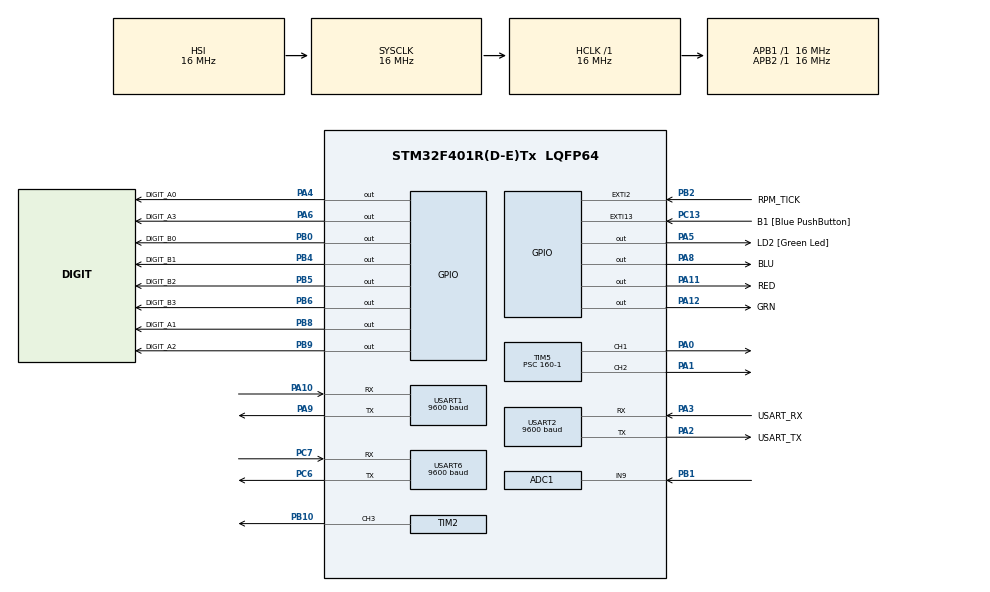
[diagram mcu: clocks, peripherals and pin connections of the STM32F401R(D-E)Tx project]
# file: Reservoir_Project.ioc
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ADC1.Channel-0\#ChannelRegularConversion=ADC_CHANNEL_9
ADC1.NbrOfConversionFlag=1
ADC1.Rank-0\#ChannelRegularConversion=1
ADC1.Resolution=ADC_RESOLUTION_8B
ADC1.SamplingTime-0\#ChannelRegularConversion=ADC_SAMPLETIME_15CYCLES
ADC1.ScanConvMode=ENABLE
ADC1.master=1
Mcu.Family=STM32F4
Mcu.Name=STM32F401R(D-E)Tx
Mcu.Package=LQFP64
NVIC.EXTI2_IRQn=true\:0\:0\:false\:false\:true\:true\:true\:true
NVIC.PriorityGroup=NVIC_PRIORITYGROUP_0
NVIC.USART1_IRQn=true\:0\:0\:false\:false\:true\:true\:true\:true
NVIC.USART2_IRQn=true\:0\:0\:false\:false\:true\:true\:true\:true
NVIC.USART6_IRQn=true\:0\:0\:false\:false\:true\:true\:true\:true
PA0-WKUP.Signal=S_TIM5_CH1
PA1.Signal=S_TIM5_CH2
PA10.Mode=Asynchronous
PA10.Signal=USART1_RX
PA11.GPIO_Label=RED
PA11.Signal=GPIO_Output
PA12.GPIO_Label=GRN
PA12.Signal=GPIO_Output
PA13.GPIO_Label=TMS
PA13.Mode=Serial_Wire
PA13.Signal=SYS_JTMS-SWDIO
PA14.GPIO_Label=TCK
PA14.Mode=Serial_Wire
PA14.Signal=SYS_JTCK-SWCLK
PA2.GPIO_Label=USART_TX
PA2.GPIO_Mode=GPIO_MODE_AF_PP
PA2.GPIO_PuPd=GPIO_NOPULL
PA2.GPIO_Speed=GPIO_SPEED_FREQ_LOW
PA2.Mode=Asynchronous
PA2.Signal=USART2_TX
PA3.GPIO_Label=USART_RX
PA3.GPIO_Mode=GPIO_MODE_AF_PP
PA3.GPIO_PuPd=GPIO_NOPULL
PA3.GPIO_Speed=GPIO_SPEED_FREQ_LOW
PA3.Mode=Asynchronous
PA3.Signal=USART2_RX
PA4.GPIO_Label=DIGIT_A0
PA4.Signal=GPIO_Output
PA5.GPIO_Label=LD2 [Green Led]
PA5.GPIO_Mode=GPIO_MODE_OUTPUT_PP
PA5.GPIO_PuPd=GPIO_NOPULL
PA5.GPIO_Speed=GPIO_SPEED_FREQ_LOW
PA5.Signal=GPIO_Output
PA6.GPIO_Label=DIGIT_A3
PA6.Signal=GPIO_Output
PA8.GPIO_Label=BLU
PA8.Signal=GPIO_Output
PA9.Mode=Asynchronous
PA9.Signal=USART1_TX
PB0.GPIO_Label=DIGIT_B0
PB0.Signal=GPIO_Output
PB1.Signal=ADCx_IN9
PB10.Signal=S_TIM2_CH3
PB2.GPIO_Label=RPM_TICK
PB2.Signal=GPXTI2
PB3.GPIO_Label=SWO
PB3.Signal=SYS_JTDO-SWO
PB4.GPIO_Label=DIGIT_B1
PB4.Signal=GPIO_Output
PB5.GPIO_Label=DIGIT_B2
PB5.Signal=GPIO_Output
PB6.GPIO_Label=DIGIT_B3
PB6.Signal=GPIO_Output
PB8.GPIO_Label=DIGIT_A1
PB8.Signal=GPIO_Output
PB9.GPIO_Label=DIGIT_A2
PB9.Signal=GPIO_Output
PC13-ANTI_TAMP.GPIO_Label=B1 [Blue PushButton]
PC13-ANTI_TAMP.GPIO_ModeDefaultEXTI=GPIO_MODE_IT_FALLING
PC13-ANTI_TAMP.GPIO_PuPd=GPIO_NOPULL
PC13-ANTI_TAMP.Signal=GPXTI13
PC14-OSC32_IN.Mode=LSE-External-Oscillator
PC14-OSC32_IN.Signal=RCC_OSC32_IN
PC15-OSC32_OUT.Mode=LSE-External-Oscillator
PC15-OSC32_OUT.Signal=RCC_OSC32_OUT
PC6.Mode=Asynchronous
PC6.Signal=USART6_TX
PC7.Mode=Asynchronous
PC7.Signal=USART6_RX
PH0\ -\ OSC_IN.Mode=HSE-External-Clock-Source
PH0\ -\ OSC_IN.Signal=RCC_OSC_IN
PH1\ -\ OSC_OUT.Mode=HSE-External-Clock-Source
PH1\ -\ OSC_OUT.Signal=RCC_OSC_OUT
ProjectManager.HeapSize=0x200
ProjectManager.StackSize=0x400
ProjectManager.TargetToolchain=STM32CubeIDE
RCC.48MHZClocksFreq_Value=48000000
RCC.AHBFreq_Value=16000000
RCC.APB1Freq_Value=16000000
RCC.APB1TimFreq_Value=16000000
RCC.APB2Freq_Value=16000000
RCC.APB2TimFreq_Value=16000000
RCC.CortexFreq_Value=16000000
RCC.HCLKFreq_Value=16000000
RCC.HSE_VALUE=8000000
RCC.HSI_VALUE=16000000
RCC.PLLN=336
RCC.PLLP=RCC_PLLP_DIV4
RCC.PLLQ=7
RCC.SYSCLKFreq_VALUE=16000000
RCC.VCOOutputFreq_Value=336000000
SH.ADCx_IN9.0=ADC1_IN9,IN9
SH.S_TIM2_CH3.0=TIM2_CH3,PWM Generation3 CH3
SH.S_TIM5_CH1.0=TIM5_CH1,PWM Generation1 CH1
SH.S_TIM5_CH2.0=TIM5_CH2,PWM Generation2 CH2
TIM2.AutoReloadPreload=TIM_AUTORELOAD_PRELOAD_ENABLE
TIM2.Channel-PWM\ Generation3\ CH3=TIM_CHANNEL_3
TIM2.Period=20000-1
TIM2.Prescaler=16-1
TIM4.AutoReloadPreload=TIM_AUTORELOAD_PRELOAD_ENABLE
TIM4.Period=1000-1
TIM4.Prescaler=16000-1
TIM5.AutoReloadPreload=TIM_AUTORELOAD_PRELOAD_ENABLE
TIM5.Channel-PWM\ Generation1\ CH1=TIM_CHANNEL_1
TIM5.Channel-PWM\ Generation2\ CH2=TIM_CHANNEL_2
TIM5.Period=100-1
TIM5.Prescaler=160-1
TIM5.Pulse-PWM\ Generation1\ CH1=80-1
TIM5.Pulse-PWM\ Generation2\ CH2=80-1
USART1.BaudRate=9600
USART1.VirtualMode=VM_ASYNC
USART2.BaudRate=9600
USART2.VirtualMode=VM_ASYNC
USART6.BaudRate=9600
USART6.Mode=MODE_TX_RX
USART6.VirtualMode=VM_ASYNC
VP_TIM2_VS_ClockSourceINT.Mode=Internal
VP_TIM4_VS_ClockSourceINT.Mode=Internal
VP_TIM5_VS_ClockSourceINT.Mode=Internal
board=NUCLEO-F401RE

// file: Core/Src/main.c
/* USER CODE BEGIN Header */
/**
  ******************************************************************************
  * @file           : main.c
  * @brief          : Main program body
  ******************************************************************************
  * @attention
  *
  * Copyright (c) 2023 STMicroelectronics.
  * All rights reserved.
  *
  * This software is licensed under terms that can be found in the LICENSE file
  * in the root directory of this software component.
  * If no LICENSE file comes with this software, it is provided AS-IS.
  *
  ******************************************************************************
  */
/* USER CODE END Header */
#include "main.h"

/* USER CODE BEGIN PD */
uint8_t byte;
/* USER CODE END PD */

ADC_HandleTypeDef hadc1;

TIM_HandleTypeDef htim2;
TIM_HandleTypeDef htim4;
TIM_HandleTypeDef htim5;

UART_HandleTypeDef huart1;
UART_HandleTypeDef huart2;
UART_HandleTypeDef huart6;

void SystemClock_Config(void);
static void MX_GPIO_Init(void);
static void MX_USART2_UART_Init(void);
static void MX_ADC1_Init(void);
static void MX_USART6_UART_Init(void);
static void MX_TIM5_Init(void);
static void MX_USART1_UART_Init(void);
static void MX_TIM2_Init(void);
static void MX_TIM4_Init(void);

/* USER CODE BEGIN 0 */
uint16_t txd_msg_buffer[128] = {0};
uint8_t us100_Rx_flag = 01;
uint8_t rcv_intpt_flag = 00;
uint8_t rpm_tick_count = 0;
uint8_t ADC_CH9 = 0;
uint32_t RPM =0;
uint32_t time = 0;
int distance;
uint16_t inletSpeed;
double inletTime;
uint16_t speed1;
double time1;
uint16_t speed2;
double time2;
uint16_t speed3;
double time3;
uint8_t us100_buffer[2];
uint8_t cmd_dist = 0x55;
double maxWaterLevel = 50; //distance from us-100
double minWaterLevel = 150;
double waterLevel = 0;

void ADC_Select_CH(int CH){
	ADC_ChannelConfTypeDef sConfig = {0};
	switch(CH){
	case 0:
	sConfig.Channel = ADC_CHANNEL_0;
	sConfig.Rank = 1;
	if (HAL_ADC_ConfigChannel(&hadc1, &sConfig) != HAL_OK){
		Error_Handler();
	}
	break;
	case 1:
	sConfig.Channel = ADC_CHANNEL_1;
	sConfig.Rank = 1;
	if (HAL_ADC_ConfigChannel(&hadc1, &sConfig) != HAL_OK){
		Error_Handler();
	}
	break;
	case 2:
	sConfig.Channel = ADC_CHANNEL_2;
	sConfig.Rank = 1;
	if (HAL_ADC_ConfigChannel(&hadc1, &sConfig) != HAL_OK){
		Error_Handler();
	}
	break;
	case 3:
	sConfig.Channel = ADC_CHANNEL_3;
	sConfig.Rank = 1;
	if (HAL_ADC_ConfigChannel(&hadc1, &sConfig) != HAL_OK){
		Error_Handler();
	}
	break;
	case 4:
	sConfig.Channel = ADC_CHANNEL_4;
	sConfig.Rank = 1;
	if (HAL_ADC_ConfigChannel(&hadc1, &sConfig) != HAL_OK){
		Error_Handler();
	}
	break;
	case 5:
	sConfig.Channel = ADC_CHANNEL_5;
	sConfig.Rank = 1;
	if (HAL_ADC_ConfigChannel(&hadc1, &sConfig) != HAL_OK){
		Error_Handler();
	}
	break;
	case 6:
	sConfig.Channel = ADC_CHANNEL_6;
	sConfig.Rank = 1;
	if (HAL_ADC_ConfigChannel(&hadc1, &sConfig) != HAL_OK){
		Error_Handler();
	}
	break;
	case 7:
	sConfig.Channel = ADC_CHANNEL_7;
	sConfig.Rank = 1;
	if (HAL_ADC_ConfigChannel(&hadc1, &sConfig) != HAL_OK){
		Error_Handler();
	}
	break;
	case 8:
	sConfig.Channel = ADC_CHANNEL_8;
	sConfig.Rank = 1;
	if (HAL_ADC_ConfigChannel(&hadc1, &sConfig) != HAL_OK){
		Error_Handler();
	}
	break;
	case 9:
	sConfig.Channel = ADC_CHANNEL_9;
	sConfig.Rank = 1;
	if (HAL_ADC_ConfigChannel(&hadc1, &sConfig) != HAL_OK){
		Error_Handler();
	}
	break;
	case 10:
	sConfig.Channel = ADC_CHANNEL_10;
	sConfig.Rank = 1;
	if (HAL_ADC_ConfigChannel(&hadc1, &sConfig) != HAL_OK){
		Error_Handler();
	}
	break;
	case 11:
	sConfig.Channel = ADC_CHANNEL_11;
	sConfig.Rank = 1;
	if (HAL_ADC_ConfigChannel(&hadc1, &sConfig) != HAL_OK){
		Error_Handler();
	}
	break;
	case 12:
	sConfig.Channel = ADC_CHANNEL_12;
	sConfig.Rank = 1;
	if (HAL_ADC_ConfigChannel(&hadc1, &sConfig) != HAL_OK){
		Error_Handler();
	}
	break;
	case 13:
	sConfig.Channel = ADC_CHANNEL_13;
	sConfig.Rank = 1;
	if (HAL_ADC_ConfigChannel(&hadc1, &sConfig) != HAL_OK){
		Error_Handler();
	}
	break;
	case 14:
	sConfig.Channel = ADC_CHANNEL_14;
	sConfig.Rank = 1;
	if (HAL_ADC_ConfigChannel(&hadc1, &sConfig) != HAL_OK){
		Error_Handler();
	}
	break;
	case 15:
	sConfig.Channel = ADC_CHANNEL_15;
	sConfig.Rank = 1;
	if (HAL_ADC_ConfigChannel(&hadc1, &sConfig) != HAL_OK){
		Error_Handler();
	}
	break;
	}
}

void DIGIT_A_Display(uint8_t DIGIT_A)
{
	 uint8_t DIGITA_VAL = 0x0F & DIGIT_A; //mask off higher4 buts

	 switch(DIGITA_VAL)
	 {
	 case 0:
		 HAL_GPIO_WritePin(GPIOA, DIGIT_A0_Pin, GPIO_PIN_RESET);
		 HAL_GPIO_WritePin(GPIOB, DIGIT_A1_Pin, GPIO_PIN_RESET);
		 HAL_GPIO_WritePin(GPIOB, DIGIT_A2_Pin, GPIO_PIN_RESET);
		 HAL_GPIO_WritePin(GPIOA, DIGIT_A3_Pin, GPIO_PIN_RESET);
	 break;
	 case 1:
		 HAL_GPIO_WritePin(GPIOA, DIGIT_A0_Pin, GPIO_PIN_SET);
		 HAL_GPIO_WritePin(GPIOB, DIGIT_A1_Pin, GPIO_PIN_RESET);
		 HAL_GPIO_WritePin(GPIOB, DIGIT_A2_Pin, GPIO_PIN_RESET);
		 HAL_GPIO_WritePin(GPIOA, DIGIT_A3_Pin, GPIO_PIN_RESET);
	 break;
	 case 2:
		 HAL_GPIO_WritePin(GPIOA, DIGIT_A0_Pin, GPIO_PIN_RESET);
		 HAL_GPIO_WritePin(GPIOB, DIGIT_A1_Pin, GPIO_PIN_SET);
		 HAL_GPIO_WritePin(GPIOB, DIGIT_A2_Pin, GPIO_PIN_RESET);
		 HAL_GPIO_WritePin(GPIOA, DIGIT_A3_Pin, GPIO_PIN_RESET);
	 break;
	 case 3:
		 HAL_GPIO_WritePin(GPIOA, DIGIT_A0_Pin, GPIO_PIN_SET);
		 HAL_GPIO_WritePin(GPIOB, DIGIT_A1_Pin, GPIO_PIN_SET);
		 HAL_GPIO_WritePin(GPIOB, DIGIT_A2_Pin, GPIO_PIN_RESET);
		 HAL_GPIO_WritePin(GPIOA, DIGIT_A3_Pin, GPIO_PIN_RESET);
	 break;
	 case 4:
		 HAL_GPIO_WritePin(GPIOA, DIGIT_A0_Pin, GPIO_PIN_RESET);
		 HAL_GPIO_WritePin(GPIOB, DIGIT_A1_Pin, GPIO_PIN_RESET);
		 HAL_GPIO_WritePin(GPIOB, DIGIT_A2_Pin, GPIO_PIN_SET);
		 HAL_GPIO_WritePin(GPIOA, DIGIT_A3_Pin, GPIO_PIN_RESET);
	 break;
	 case 5:
		 HAL_GPIO_WritePin(GPIOA, DIGIT_A0_Pin, GPIO_PIN_SET);
		 HAL_GPIO_WritePin(GPIOB, DIGIT_A1_Pin, GPIO_PIN_RESET);
		 HAL_GPIO_WritePin(GPIOB, DIGIT_A2_Pin, GPIO_PIN_SET);
		 HAL_GPIO_WritePin(GPIOA, DIGIT_A3_Pin, GPIO_PIN_RESET);
	 break;
	 case 6:
		 HAL_GPIO_WritePin(GPIOA, DIGIT_A0_Pin, GPIO_PIN_RESET);
		 HAL_GPIO_WritePin(GPIOB, DIGIT_A1_Pin, GPIO_PIN_SET);
		 HAL_GPIO_WritePin(GPIOB, DIGIT_A2_Pin, GPIO_PIN_SET);
		 HAL_GPIO_WritePin(GPIOA, DIGIT_A3_Pin, GPIO_PIN_RESET);
	 break;
	 case 7:
		 HAL_GPIO_WritePin(GPIOA, DIGIT_A0_Pin, GPIO_PIN_SET);
		 HAL_GPIO_WritePin(GPIOB, DIGIT_A1_Pin, GPIO_PIN_SET);
		 HAL_GPIO_WritePin(GPIOB, DIGIT_A2_Pin, GPIO_PIN_SET);
		 HAL_GPIO_WritePin(GPIOA, DIGIT_A3_Pin, GPIO_PIN_RESET);
	 break;
	 case 8:
		 HAL_GPIO_WritePin(GPIOA, DIGIT_A0_Pin, GPIO_PIN_RESET);
		 HAL_GPIO_WritePin(GPIOB, DIGIT_A1_Pin, GPIO_PIN_RESET);
		 HAL_GPIO_WritePin(GPIOB, DIGIT_A2_Pin, GPIO_PIN_RESET);
		 HAL_GPIO_WritePin(GPIOA, DIGIT_A3_Pin, GPIO_PIN_SET);
	 break;
	 case 9:
		 HAL_GPIO_WritePin(GPIOA, DIGIT_A0_Pin, GPIO_PIN_SET);
		 HAL_GPIO_WritePin(GPIOB, DIGIT_A1_Pin, GPIO_PIN_RESET);
		 HAL_GPIO_WritePin(GPIOB, DIGIT_A2_Pin, GPIO_PIN_RESET);
		 HAL_GPIO_WritePin(GPIOA, DIGIT_A3_Pin, GPIO_PIN_SET);
	 break;
	 }
}

void DIGIT_B_Display(uint8_t DIGIT_B)
{
	 uint8_t DIGITB_VAL = 0x0F & DIGIT_B; //mask off higher4 buts

	 switch(DIGITB_VAL)
	 {
	 case 0:
		 HAL_GPIO_WritePin(GPIOB, DIGIT_B0_Pin, GPIO_PIN_RESET);
		 HAL_GPIO_WritePin(GPIOB, DIGIT_B1_Pin, GPIO_PIN_RESET);
		 HAL_GPIO_WritePin(GPIOB, DIGIT_B2_Pin, GPIO_PIN_RESET);
		 HAL_GPIO_WritePin(GPIOB, DIGIT_B3_Pin, GPIO_PIN_RESET);
	 break;
	 case 1:
		 HAL_GPIO_WritePin(GPIOB, DIGIT_B0_Pin, GPIO_PIN_SET);
		 HAL_GPIO_WritePin(GPIOB, DIGIT_B1_Pin, GPIO_PIN_RESET);
		 HAL_GPIO_WritePin(GPIOB, DIGIT_B2_Pin, GPIO_PIN_RESET);
		 HAL_GPIO_WritePin(GPIOB, DIGIT_B3_Pin, GPIO_PIN_RESET);
	 break;
	 case 2:
		 HAL_GPIO_WritePin(GPIOB, DIGIT_B0_Pin, GPIO_PIN_RESET);
		 HAL_GPIO_WritePin(GPIOB, DIGIT_B1_Pin, GPIO_PIN_SET);
		 HAL_GPIO_WritePin(GPIOB, DIGIT_B2_Pin, GPIO_PIN_RESET);
		 HAL_GPIO_WritePin(GPIOB, DIGIT_B3_Pin, GPIO_PIN_RESET);
	 break;
	 case 3:
		 HAL_GPIO_WritePin(GPIOB, DIGIT_B0_Pin, GPIO_PIN_SET);
		 HAL_GPIO_WritePin(GPIOB, DIGIT_B1_Pin, GPIO_PIN_SET);
		 HAL_GPIO_WritePin(GPIOB, DIGIT_B2_Pin, GPIO_PIN_RESET);
		 HAL_GPIO_WritePin(GPIOB, DIGIT_B3_Pin, GPIO_PIN_RESET);
	 break;
	 case 4:
		 HAL_GPIO_WritePin(GPIOB, DIGIT_B0_Pin, GPIO_PIN_RESET);
		 HAL_GPIO_WritePin(GPIOB, DIGIT_B1_Pin, GPIO_PIN_RESET);
		 HAL_GPIO_WritePin(GPIOB, DIGIT_B2_Pin, GPIO_PIN_SET);
		 HAL_GPIO_WritePin(GPIOB, DIGIT_B3_Pin, GPIO_PIN_RESET);
	 break;
	 case 5:
		 HAL_GPIO_WritePin(GPIOB, DIGIT_B0_Pin, GPIO_PIN_SET);
		 HAL_GPIO_WritePin(GPIOB, DIGIT_B1_Pin, GPIO_PIN_RESET);
		 HAL_GPIO_WritePin(GPIOB, DIGIT_B2_Pin, GPIO_PIN_SET);
		 HAL_GPIO_WritePin(GPIOB, DIGIT_B3_Pin, GPIO_PIN_RESET);
	 break;
	 case 6:
		 HAL_GPIO_WritePin(GPIOB, DIGIT_B0_Pin, GPIO_PIN_RESET);
		 HAL_GPIO_WritePin(GPIOB, DIGIT_B1_Pin, GPIO_PIN_SET);
		 HAL_GPIO_WritePin(GPIOB, DIGIT_B2_Pin, GPIO_PIN_SET);
		 HAL_GPIO_WritePin(GPIOB, DIGIT_B3_Pin, GPIO_PIN_RESET);
	 break;
	 case 7:
		 HAL_GPIO_WritePin(GPIOB, DIGIT_B0_Pin, GPIO_PIN_SET);
		 HAL_GPIO_WritePin(GPIOB, DIGIT_B1_Pin, GPIO_PIN_SET);
		 HAL_GPIO_WritePin(GPIOB, DIGIT_B2_Pin, GPIO_PIN_SET);
		 HAL_GPIO_WritePin(GPIOB, DIGIT_B3_Pin, GPIO_PIN_RESET);
	 break;
	 case 8:
		 HAL_GPIO_WritePin(GPIOB, DIGIT_B0_Pin, GPIO_PIN_RESET);
		 HAL_GPIO_WritePin(GPIOB, DIGIT_B1_Pin, GPIO_PIN_RESET);
		 HAL_GPIO_WritePin(GPIOB, DIGIT_B2_Pin, GPIO_PIN_RESET);
		 HAL_GPIO_WritePin(GPIOB, DIGIT_B3_Pin, GPIO_PIN_SET);
	 break;
	 case 9:
		 HAL_GPIO_WritePin(GPIOB, DIGIT_B0_Pin, GPIO_PIN_SET);
		 HAL_GPIO_WritePin(GPIOB, DIGIT_B1_Pin, GPIO_PIN_RESET);
		 HAL_GPIO_WritePin(GPIOB, DIGIT_B2_Pin, GPIO_PIN_RESET);
		 HAL_GPIO_WritePin(GPIOB, DIGIT_B3_Pin, GPIO_PIN_SET);
	 break;
	 }
}

void changeMotorSpeed(int direction, uint8_t motorSpeed, uint8_t potentiometer){
	if(potentiometer == 1){
		if (direction == 0){
			TIM5->CCR2 = 0;
			//TIM5->CCR1 = 0 + ((99 - 0) / (255 - 0)) * (motorSpeed - 0);
			TIM5->CCR1 = ((double)motorSpeed/255) * 99;
			//output = output_start + ((output_end - output_start) / (input_end - input_start)) * (input - input_start)
		}
		else{
			TIM5->CCR1 = 0;
			//TIM5->CCR2 = 0 + ((99 - 50) / (255 - 0)) * (motorSpeed - 0);
			TIM5->CCR2 = ((double)motorSpeed/255) * 99;
		}
	}
	else{
		if (direction == 0){
			TIM5->CCR2 = 0;
			TIM5->CCR1 = motorSpeed;
			//output = output_start + ((output_end - output_start) / (input_end - input_start)) * (input - input_start)
		}
		else{
			TIM5->CCR1 = 0;
			TIM5->CCR2 = motorSpeed;
		}
	}
}

void updateADCValue(){
	ADC_Select_CH(9);
	HAL_ADC_Start(&hadc1);
	HAL_ADC_PollForConversion(&hadc1, 1000);
	ADC_CH9 = HAL_ADC_GetValue(&hadc1);
	HAL_ADC_Stop(&hadc1);

}

void updateWaterLevel(){
	//distance sensor
	us100_Rx_flag = 01;
	HAL_UART_Receive_IT(&huart1,us100_buffer,2);
	HAL_UART_Transmit(&huart1, &cmd_dist,1,500);
	while(us100_Rx_flag == (00)){};

	distance = (us100_buffer[0] << 8) + us100_buffer[1];

	//sprintf((char*)txd_msg_buffer, "\r\n Distance: %d", distance);
	//HAL_UART_Transmit(&huart6, txd_msg_buffer, strlen((char*)txd_msg_buffer), 1000);
}

void updateTimerDisplay(){
	DIGIT_A_Display((int)waterLevel/10);
	DIGIT_B_Display((int)waterLevel % 10);
}

void updateRPM(){
	if (HAL_GetTick() - time >= 1000) {
		RPM = ((float)rpm_tick_count/20.0)*60.0;
		rpm_tick_count = 0;
		//sprintf((char*)txd_msg_buffer, "\r\n RPM: %d",RPM);
		//HAL_UART_Transmit(&huart6,txd_msg_buffer, strlen((char*)txd_msg_buffer), 1000);
		time = HAL_GetTick();
	}
}

void moveServo(int CCRValue){
//	int TIM2_Ch1_DCVAL = 500;
//	int TIM2_Ch1_STEP = 50;
	TIM2->CCR3 = CCRValue;
	//while(TIM2_Ch1_DCVAL < 2500){
	//		  TIM2_Ch1_DCVAL += (TIM2_Ch1_STEP);
	//		  TIM2->CCR1 = TIM2_Ch1_DCVAL;
	//	  }
	//	  while(TIM2_Ch1_DCVAL > 500){
	//		  TIM2_Ch1_DCVAL -= (TIM2_Ch1_STEP);
	//		  TIM2->CCR1 = TIM2_Ch1_DCVAL;
	//	  }
}

void Inlet(){
	if(distance <= maxWaterLevel){
		distance = maxWaterLevel;
		return;
	}
	uint16_t speed;
	double zoneTimeInMS = (inletTime/10)*60*1000;
	double startTime = HAL_GetTick();
	double newTime = startTime + 1;
	HAL_GPIO_WritePin(GPIOA, RED_Pin, GPIO_PIN_SET);
	HAL_GPIO_WritePin(GPIOA, BLU_Pin, GPIO_PIN_SET);
	moveServo(500);

	updateWaterLevel();

	if(distance <= maxWaterLevel){
			distance = maxWaterLevel;
	}
	if(distance > minWaterLevel){
		distance = minWaterLevel;
	}
	waterLevel = ((minWaterLevel - distance)/100) * 99;
	if (inletSpeed == 0){
		updateADCValue();
		speed = ADC_CH9;
		changeMotorSpeed(0, speed, 1);
	}
	else{
		if(inletSpeed == 8){
			speed = 85;
		}
		else if(inletSpeed == 9){
			speed = 99;
		}
		else{
			speed = inletSpeed * 10;
		}
		changeMotorSpeed(0, speed, 0);
	}
	updateRPM();
	sprintf((char*)txd_msg_buffer, "\r\n Zone: Inlet, Motor Speed: %d, Pump RPM: %d, distance %d, Reservoir Water Level: %0.0lf%%", speed, RPM, distance, waterLevel);
	HAL_UART_Transmit(&huart6,txd_msg_buffer, strlen((char*)txd_msg_buffer), 1000);

	while (newTime - startTime <= zoneTimeInMS || distance > maxWaterLevel){
		if (inletSpeed == 0){
			updateADCValue();
			speed = ADC_CH9;
			changeMotorSpeed(0, speed, 1);
		}
		else{
			if(inletSpeed == 8){
				speed = 85;
			}
			else if(inletSpeed == 9){
				speed = 99;
			}
			else{
				speed = inletSpeed * 10;
			}
			changeMotorSpeed(0, speed, 0);
		}
		updateWaterLevel();
		if(distance <= maxWaterLevel){
			distance = maxWaterLevel;
			break;
		}
		if(distance > minWaterLevel){
			distance = minWaterLevel;
		}
		waterLevel = ((minWaterLevel - distance)/100) * 99;
		updateTimerDisplay();
		newTime = (double)HAL_GetTick();
		updateRPM();
		sprintf((char*)txd_msg_buffer, "\r\n Zone: Inlet, Motor Speed: %d, Pump RPM: %d, distance %d, Reservoir Water Level: %0.0lf%%", speed, RPM, distance, waterLevel);
		HAL_UART_Transmit(&huart6,txd_msg_buffer, strlen((char*)txd_msg_buffer), 1000);
	}
	HAL_GPIO_WritePin(GPIOA, RED_Pin, GPIO_PIN_RESET);
	HAL_GPIO_WritePin(GPIOA, BLU_Pin, GPIO_PIN_RESET);

	if(distance <= maxWaterLevel){
			distance = maxWaterLevel;
	}
	if(distance > minWaterLevel){
		distance = minWaterLevel;
	}
	updateRPM();
	waterLevel = ((minWaterLevel - distance)/100) * 99;
	sprintf((char*)txd_msg_buffer, "\r\n Zone: Inlet, Motor Speed: %d, Pump RPM: %d, distance %d, Reservoir Water Level: %0.0lf%%", speed, RPM, distance, waterLevel);
	HAL_UART_Transmit(&huart6,txd_msg_buffer, strlen((char*)txd_msg_buffer), 1000);
}

void Outlet1(){
	uint16_t speed;
	double zoneTimeInMS = (time1/10)*60*1000;
	double startTime = HAL_GetTick();
	double newTime = startTime + 1;
	HAL_GPIO_WritePin(GPIOA, RED_Pin, GPIO_PIN_SET);
	moveServo(1500);

	updateWaterLevel();

	if(distance <= maxWaterLevel){
			distance = maxWaterLevel;
	}
	if(distance > minWaterLevel){
		distance = minWaterLevel;
	}
	waterLevel = ((minWaterLevel - distance)/100) * 99;
	if (speed1 == 0){
		updateADCValue();
		speed = ADC_CH9;
		changeMotorSpeed(0, speed, 1);
	}
	else{
		if(speed1 == 8){
			speed = 85;
		}
		else if(speed1 == 9){
			speed = 99;
		}
		else{
			speed = speed1 * 10;
		}
		changeMotorSpeed(0, speed, 0);
	}
	updateRPM();
	sprintf((char*)txd_msg_buffer, "\r\n Zone: Pipe 1, Motor Speed: %d, Pump RPM: %d, distance %d, Reservoir Water Level: %0.0lf%%", speed, RPM, distance, waterLevel);
	HAL_UART_Transmit(&huart6,txd_msg_buffer, strlen((char*)txd_msg_buffer), 1000);

	while (newTime - startTime <= zoneTimeInMS){
		if (speed1 == 0){
			updateADCValue();
			speed = ADC_CH9;
			changeMotorSpeed(1, speed, 1);
		}
		else{
			if(speed1 == 8){
				speed = 85;
			}
			else if(speed1 == 9){
				speed = 99;
			}
			else{
				speed = speed1 * 10;
			}
			changeMotorSpeed(1, speed, 0);
		}
		updateWaterLevel();
		if (distance >= minWaterLevel){
			distance = minWaterLevel;
			HAL_GPIO_WritePin(GPIOA, RED_Pin, GPIO_PIN_RESET);
			Inlet();
			HAL_GPIO_WritePin(GPIOA, RED_Pin, GPIO_PIN_SET);
			moveServo(1500);
		}
		else if(distance < maxWaterLevel){
			distance = maxWaterLevel;
		}
		waterLevel = ((minWaterLevel - distance)/100) * 99;
		updateTimerDisplay();
		newTime = (double)HAL_GetTick();
		updateRPM();
		sprintf((char*)txd_msg_buffer, "\r\n Zone: Pipe 1, Motor Speed: %d, Pump RPM: %d, distance %d, Reservoir Water Level: %0.0lf%%", speed, RPM, distance, waterLevel);
		HAL_UART_Transmit(&huart6,txd_msg_buffer, strlen((char*)txd_msg_buffer), 1000);
	}
	HAL_GPIO_WritePin(GPIOA, RED_Pin, GPIO_PIN_RESET);

	if(distance <= maxWaterLevel){
			distance = maxWaterLevel;
	}
	if(distance > minWaterLevel){
		distance = minWaterLevel;
	}
	updateRPM();
	waterLevel = ((minWaterLevel - distance)/100) * 99;
	sprintf((char*)txd_msg_buffer, "\r\n Zone: Pipe 1, Motor Speed: %d, Pump RPM: %d, distance %d, Reservoir Water Level: %0.0lf%%", speed, RPM, distance, waterLevel);
	HAL_UART_Transmit(&huart6,txd_msg_buffer, strlen((char*)txd_msg_buffer), 1000);
}

void Outlet2(){
	uint16_t speed;
	double zoneTimeInMS = (time2/10)*60*1000;
	double startTime = HAL_GetTick();
	double newTime = startTime + 1;
	HAL_GPIO_WritePin(GPIOA, GRN_Pin, GPIO_PIN_SET);
	moveServo(2500);

	updateWaterLevel();

	if(distance <= maxWaterLevel){
			distance = maxWaterLevel;
	}
	if(distance > minWaterLevel){
		distance = minWaterLevel;
	}
	waterLevel = ((minWaterLevel - distance)/100) * 99;
	if (speed2 == 0){
		updateADCValue();
		speed = ADC_CH9;
		changeMotorSpeed(0, speed, 1);
	}
	else{
		if(speed2 == 8){
			speed = 85;
		}
		else if(speed2 == 9){
			speed = 99;
		}
		else{
			speed = speed2 * 10;
		}
		changeMotorSpeed(0, speed, 0);
	}
	updateRPM();
	sprintf((char*)txd_msg_buffer, "\r\n Zone: Pipe 2, Motor Speed: %d, Pump RPM: %d, distance %d, Reservoir Water Level: %0.0lf%%", speed, RPM, distance, waterLevel);
	HAL_UART_Transmit(&huart6,txd_msg_buffer, strlen((char*)txd_msg_buffer), 1000);

	while (newTime - startTime <= zoneTimeInMS){
		if (speed2 == 0){
			updateADCValue();
			speed = ADC_CH9;
			changeMotorSpeed(1, speed, 1);
		}
		else{
			if(speed2 == 8){
				speed = 85;
			}
			else if(speed2 == 9){
				speed = 99;
			}
			else{
				speed = speed2 * 10;
			}
			changeMotorSpeed(1, speed, 0);
		}
		updateWaterLevel();
		if (distance >= minWaterLevel){
			distance = minWaterLevel;
			HAL_GPIO_WritePin(GPIOA, GRN_Pin, GPIO_PIN_RESET);
			Inlet();
			HAL_GPIO_WritePin(GPIOA, GRN_Pin, GPIO_PIN_SET);
			moveServo(2500);
		}
		else if(distance < maxWaterLevel){
			distance = maxWaterLevel;
		}
		waterLevel = ((minWaterLevel - distance)/100) * 99;
		updateTimerDisplay();
		newTime = (double)HAL_GetTick();
		updateRPM();
			sprintf((char*)txd_msg_buffer, "\r\n Zone: Pipe 2, Motor Speed: %d, Pump RPM: %d, distance %d, Reservoir Water Level: %0.0lf%%", speed, RPM, distance, waterLevel);
			HAL_UART_Transmit(&huart6,txd_msg_buffer, strlen((char*)txd_msg_buffer), 1000);
	}
	HAL_GPIO_WritePin(GPIOA, GRN_Pin, GPIO_PIN_RESET);

	if(distance <= maxWaterLevel){
			distance = maxWaterLevel;
	}
	if(distance > minWaterLevel){
		distance = minWaterLevel;
	}
	waterLevel = ((minWaterLevel - distance)/100) * 99;
	updateRPM();
	sprintf((char*)txd_msg_buffer, "\r\n Zone: Pipe 2, Motor Speed: %d, Pump RPM: %d, distance %d, Reservoir Water Level: %0.0lf%%", speed, RPM, distance, waterLevel);
	HAL_UART_Transmit(&huart6,txd_msg_buffer, strlen((char*)txd_msg_buffer), 1000);
}

void Outlet3(){
	uint16_t speed;
	double zoneTimeInMS = (time3/10)*60*1000;
	double startTime = HAL_GetTick();
	double newTime = startTime + 1;
	HAL_GPIO_WritePin(GPIOA, BLU_Pin, GPIO_PIN_SET);
	moveServo(1000);

	updateWaterLevel();
	if(distance <= maxWaterLevel){
			distance = maxWaterLevel;
	}
	if(distance > minWaterLevel){
		distance = minWaterLevel;
	}
	waterLevel = ((minWaterLevel - distance)/100) * 99;
	if (inletSpeed == 0){
		updateADCValue();
		speed = ADC_CH9;
		changeMotorSpeed(0, speed, 1);
	}
	else{
		if(speed3 == 8){
			speed = 85;
		}
		else if(speed3 == 9){
			speed = 99;
		}
		else{
			speed = speed3 * 10;
		}
		changeMotorSpeed(0, speed, 0);
	}
	updateRPM();
	sprintf((char*)txd_msg_buffer, "\r\n Zone: Pipe 3, Motor Speed: %d, Pump RPM: %d, distance %d, Reservoir Water Level: %0.0lf%%", speed, RPM, distance, waterLevel);
	HAL_UART_Transmit(&huart6,txd_msg_buffer, strlen((char*)txd_msg_buffer), 1000);
	while (newTime - startTime <= zoneTimeInMS){
		if (speed3 == 0){
			updateADCValue();
			speed = ADC_CH9;
			changeMotorSpeed(1, speed, 1);
		}
		else{
			if(speed3 == 8){
				speed = 85;
			}
			else if(speed3 == 9){
				speed = 99;
			}
			else{
				speed = speed3 * 10;
			}
			changeMotorSpeed(1, speed, 0);
		}
		updateWaterLevel();
		if (distance >= minWaterLevel){
			distance = minWaterLevel;
			HAL_GPIO_WritePin(GPIOA, BLU_Pin, GPIO_PIN_RESET);
			Inlet();
			HAL_GPIO_WritePin(GPIOA, BLU_Pin, GPIO_PIN_SET);
			moveServo(1000);
		}
		else if(distance < maxWaterLevel){
			distance = maxWaterLevel;
		}
		waterLevel = ((minWaterLevel - distance)/100) * 99;
		updateTimerDisplay();
		newTime = (double)HAL_GetTick();
		updateRPM();
		sprintf((char*)txd_msg_buffer, "\r\n Zone: Pipe 3, Motor Speed: %d, Pump RPM: %d, distance %d, Reservoir Water Level: %0.0lf%%", speed, RPM, distance, waterLevel);
		HAL_UART_Transmit(&huart6,txd_msg_buffer, strlen((char*)txd_msg_buffer), 1000);
	}

	if(distance <= maxWaterLevel){
			distance = maxWaterLevel;
	}
	if(distance > minWaterLevel){
		distance = minWaterLevel;
	}
	waterLevel = ((minWaterLevel - distance)/100) * 99;
	updateRPM();
	sprintf((char*)txd_msg_buffer, "\r\n Zone: Pipe 3, Motor Speed: %d, Pump RPM: %d, distance %d, Reservoir Water Level: %0.0lf%%", speed, RPM, distance, waterLevel);
	HAL_UART_Transmit(&huart6,txd_msg_buffer, strlen((char*)txd_msg_buffer), 1000);
	HAL_GPIO_WritePin(GPIOA, BLU_Pin, GPIO_PIN_RESET);
}

/* USER CODE END 0 */

int main(void)
{

  /* MCU Configuration--------------------------------------------------------*/

  /* Reset of all peripherals, Initializes the Flash interface and the Systick. */
  HAL_Init();

  /* Configure the system clock */
  SystemClock_Config();

  /* Initialize all configured peripherals */
  MX_GPIO_Init();
  MX_USART2_UART_Init();
  MX_ADC1_Init();
  MX_USART6_UART_Init();
  MX_TIM5_Init();
  MX_USART1_UART_Init();
  MX_TIM2_Init();
  MX_TIM4_Init();
  /* USER CODE BEGIN 2 */
  HAL_TIM_Base_Init(&htim5);
  HAL_TIM_PWM_Start(&htim5, TIM_CHANNEL_1);
  HAL_TIM_PWM_Start(&htim5, TIM_CHANNEL_2);

  HAL_TIM_Base_Start(&htim2);
  HAL_TIM_PWM_Start(&htim2, TIM_CHANNEL_3);
  TIM2->PSC = 16-1;
  TIM2->ARR = 20000-1;
  TIM2->CCR1 = 500;

  //inlet setup
  sprintf((char*)txd_msg_buffer, "\r\n INLET MOTOR SPEED - enter 0 for manual mode, else choose 5 to 9: ");
  HAL_UART_Transmit(&huart6,txd_msg_buffer, strlen((char*)txd_msg_buffer), 1000);
  rcv_intpt_flag = 00;
  HAL_UART_Receive_IT(&huart6, &byte, 1);

  while(rcv_intpt_flag == (00)){}
  inletSpeed = byte - '0';

  sprintf((char*)txd_msg_buffer, "\r\n Inlet Time, 1 to 24 hours: ");
      HAL_UART_Transmit(&huart6,txd_msg_buffer, strlen((char*)txd_msg_buffer), 1000);
      rcv_intpt_flag = 00;
      HAL_UART_Receive_IT(&huart6, &byte, 1);

      while(rcv_intpt_flag == (00)){}
  inletTime = byte - '0';

  //zone 1 setup
  sprintf((char*)txd_msg_buffer, "\r\n ZONE 1 MOTOR SPEED - enter 0 for manual mode, else choose 5 to 9: ");
  HAL_UART_Transmit(&huart6,txd_msg_buffer, strlen((char*)txd_msg_buffer), 1000);
  rcv_intpt_flag = 00;
  HAL_UART_Receive_IT(&huart6, &byte, 1);

  while(rcv_intpt_flag == (00)){}

  speed1 = byte - '0';

  sprintf((char*)txd_msg_buffer, "\r\n Zone 1 Time, 1 to 24 hours: ");
      HAL_UART_Transmit(&huart6,txd_msg_buffer, strlen((char*)txd_msg_buffer), 1000);
      rcv_intpt_flag = 00;
      HAL_UART_Receive_IT(&huart6, &byte, 1);

      while(rcv_intpt_flag == (00)){}
  time1 = byte -'0';
  //zone 2 setup
    sprintf((char*)txd_msg_buffer, "\r\n ZONE 2 MOTOR SPEED - enter 0 for manual mode, else choose 5 to 9: ");
    HAL_UART_Transmit(&huart6,txd_msg_buffer, strlen((char*)txd_msg_buffer), 1000);
    rcv_intpt_flag = 00;
    HAL_UART_Receive_IT(&huart6, &byte, 1);

    while(rcv_intpt_flag == (00)){}

    speed2 = byte - '0';
    sprintf((char*)txd_msg_buffer, "\r\n Zone 2 Time, 1 to 24 hours: ");
        HAL_UART_Transmit(&huart6,txd_msg_buffer, strlen((char*)txd_msg_buffer), 1000);
        rcv_intpt_flag = 00;
        HAL_UART_Receive_IT(&huart6, &byte, 1);

        while(rcv_intpt_flag == (00)){}

    time2 = byte - '0';
    //zone 3 setup
      sprintf((char*)txd_msg_buffer, "\r\n ZONE 3 MOTOR SPEED - enter 0 for manual mode, else choose 5 to 9: ");
      HAL_UART_Transmit(&huart6,txd_msg_buffer, strlen((char*)txd_msg_buffer), 1000);
      rcv_intpt_flag = 00;
      HAL_UART_Receive_IT(&huart6, &byte, 1);

      while(rcv_intpt_flag == (00)){}

      speed3 = byte - '0';

      sprintf((char*)txd_msg_buffer, "\r\n Zone 3 Time, 1 to 24 hours: ");
		HAL_UART_Transmit(&huart6,txd_msg_buffer, strlen((char*)txd_msg_buffer), 1000);
		rcv_intpt_flag = 00;
		HAL_UART_Receive_IT(&huart6, &byte, 1);

		while(rcv_intpt_flag == (00)){}

	  time3 = byte - '0';
  HAL_TIM_Base_Start_IT(&htim4);
  time = HAL_GetTick();
  /* USER CODE END 2 */

  /* Infinite loop */
  /* USER CODE BEGIN WHILE */

  while (1)
  {

	  Inlet();
	  Outlet1();
	  Outlet2();
	  Outlet3();
	  //potentiometer code
	  //getADCValue();

	  //motor code
	  //changeMotorSpeed(ADC_CH9, motorSpeed);

	  //RPM sensor code
//	  if (HAL_GetTick() - time >= 1000) {
//		  RPM = (rpm_tick_count/20)*60;
//		  rpm_tick_count =0;
//		  //sprintf((char*)txd_msg_buffer, "\r\n RPM: %d",RPM);
//		  HAL_UART_Transmit(&huart6,txd_msg_buffer, strlen((char*)txd_msg_buffer), 1000);
//		  time = HAL_GetTick();
//	  }

	  //servo code
//	  while(TIM2_Ch1_DCVAL < 2500){
//		  TIM2_Ch1_DCVAL += (TIM2_Ch1_STEP);
//		  TIM2->CCR1 = TIM2_Ch1_DCVAL;
//	  }
//	  while(TIM2_Ch1_DCVAL > 500){
//		  TIM2_Ch1_DCVAL -= (TIM2_Ch1_STEP);
//		  TIM2->CCR1 = TIM2_Ch1_DCVAL;
//	  }

    /* USER CODE END WHILE */

  }
}

void SystemClock_Config(void)
{
  RCC_OscInitTypeDef RCC_OscInitStruct = {0};
  RCC_ClkInitTypeDef RCC_ClkInitStruct = {0};

  /** Configure the main internal regulator output voltage
  */
  __HAL_RCC_PWR_CLK_ENABLE();
  __HAL_PWR_VOLTAGESCALING_CONFIG(PWR_REGULATOR_VOLTAGE_SCALE2);

  /** Initializes the RCC Oscillators according to the specified parameters
  * in the RCC_OscInitTypeDef structure.
  */
  RCC_OscInitStruct.OscillatorType = RCC_OSCILLATORTYPE_HSI;
  RCC_OscInitStruct.HSIState = RCC_HSI_ON;
  RCC_OscInitStruct.HSICalibrationValue = RCC_HSICALIBRATION_DEFAULT;
  RCC_OscInitStruct.PLL.PLLState = RCC_PLL_NONE;
  if (HAL_RCC_OscConfig(&RCC_OscInitStruct) != HAL_OK)
  {
    Error_Handler();
  }

  /** Initializes the CPU, AHB and APB buses clocks
  */
  RCC_ClkInitStruct.ClockType = RCC_CLOCKTYPE_HCLK|RCC_CLOCKTYPE_SYSCLK
                              |RCC_CLOCKTYPE_PCLK1|RCC_CLOCKTYPE_PCLK2;
  RCC_ClkInitStruct.SYSCLKSource = RCC_SYSCLKSOURCE_HSI;
  RCC_ClkInitStruct.AHBCLKDivider = RCC_SYSCLK_DIV1;
  RCC_ClkInitStruct.APB1CLKDivider = RCC_HCLK_DIV1;
  RCC_ClkInitStruct.APB2CLKDivider = RCC_HCLK_DIV1;

  if (HAL_RCC_ClockConfig(&RCC_ClkInitStruct, FLASH_LATENCY_0) != HAL_OK)
  {
    Error_Handler();
  }
}

static void MX_ADC1_Init(void)
{

  ADC_ChannelConfTypeDef sConfig = {0};

  /** Configure the global features of the ADC (Clock, Resolution, Data Alignment and number of conversion)
  */
  hadc1.Instance = ADC1;
  hadc1.Init.ClockPrescaler = ADC_CLOCK_SYNC_PCLK_DIV2;
  hadc1.Init.Resolution = ADC_RESOLUTION_8B;
  hadc1.Init.ScanConvMode = ENABLE;
  hadc1.Init.ContinuousConvMode = DISABLE;
  hadc1.Init.DiscontinuousConvMode = DISABLE;
  hadc1.Init.ExternalTrigConvEdge = ADC_EXTERNALTRIGCONVEDGE_NONE;
  hadc1.Init.ExternalTrigConv = ADC_SOFTWARE_START;
  hadc1.Init.DataAlign = ADC_DATAALIGN_RIGHT;
  hadc1.Init.NbrOfConversion = 1;
  hadc1.Init.DMAContinuousRequests = DISABLE;
  hadc1.Init.EOCSelection = ADC_EOC_SINGLE_CONV;
  if (HAL_ADC_Init(&hadc1) != HAL_OK)
  {
    Error_Handler();
  }

  /** Configure for the selected ADC regular channel its corresponding rank in the sequencer and its sample time.
  */
  sConfig.Channel = ADC_CHANNEL_9;
  sConfig.Rank = 1;
  sConfig.SamplingTime = ADC_SAMPLETIME_15CYCLES;
  if (HAL_ADC_ConfigChannel(&hadc1, &sConfig) != HAL_OK)
  {
    Error_Handler();
  }

}

static void MX_TIM2_Init(void)
{

  TIM_ClockConfigTypeDef sClockSourceConfig = {0};
  TIM_MasterConfigTypeDef sMasterConfig = {0};
  TIM_OC_InitTypeDef sConfigOC = {0};

  htim2.Instance = TIM2;
  htim2.Init.Prescaler = 16-1;
  htim2.Init.CounterMode = TIM_COUNTERMODE_UP;
  htim2.Init.Period = 20000-1;
  htim2.Init.ClockDivision = TIM_CLOCKDIVISION_DIV1;
  htim2.Init.AutoReloadPreload = TIM_AUTORELOAD_PRELOAD_ENABLE;
  if (HAL_TIM_Base_Init(&htim2) != HAL_OK)
  {
    Error_Handler();
  }
  sClockSourceConfig.ClockSource = TIM_CLOCKSOURCE_INTERNAL;
  if (HAL_TIM_ConfigClockSource(&htim2, &sClockSourceConfig) != HAL_OK)
  {
    Error_Handler();
  }
  if (HAL_TIM_PWM_Init(&htim2) != HAL_OK)
  {
    Error_Handler();
  }
  sMasterConfig.MasterOutputTrigger = TIM_TRGO_RESET;
  sMasterConfig.MasterSlaveMode = TIM_MASTERSLAVEMODE_DISABLE;
  if (HAL_TIMEx_MasterConfigSynchronization(&htim2, &sMasterConfig) != HAL_OK)
  {
    Error_Handler();
  }
  sConfigOC.OCMode = TIM_OCMODE_PWM1;
  sConfigOC.Pulse = 0;
  sConfigOC.OCPolarity = TIM_OCPOLARITY_HIGH;
  sConfigOC.OCFastMode = TIM_OCFAST_DISABLE;
  if (HAL_TIM_PWM_ConfigChannel(&htim2, &sConfigOC, TIM_CHANNEL_3) != HAL_OK)
  {
    Error_Handler();
  }
  HAL_TIM_MspPostInit(&htim2);

}

static void MX_TIM4_Init(void)
{

  TIM_ClockConfigTypeDef sClockSourceConfig = {0};
  TIM_MasterConfigTypeDef sMasterConfig = {0};

  htim4.Instance = TIM4;
  htim4.Init.Prescaler = 16000-1;
  htim4.Init.CounterMode = TIM_COUNTERMODE_UP;
  htim4.Init.Period = 1000-1;
  htim4.Init.ClockDivision = TIM_CLOCKDIVISION_DIV1;
  htim4.Init.AutoReloadPreload = TIM_AUTORELOAD_PRELOAD_ENABLE;
  if (HAL_TIM_Base_Init(&htim4) != HAL_OK)
  {
    Error_Handler();
  }
  sClockSourceConfig.ClockSource = TIM_CLOCKSOURCE_INTERNAL;
  if (HAL_TIM_ConfigClockSource(&htim4, &sClockSourceConfig) != HAL_OK)
  {
    Error_Handler();
  }
  sMasterConfig.MasterOutputTrigger = TIM_TRGO_RESET;
  sMasterConfig.MasterSlaveMode = TIM_MASTERSLAVEMODE_DISABLE;
  if (HAL_TIMEx_MasterConfigSynchronization(&htim4, &sMasterConfig) != HAL_OK)
  {
    Error_Handler();
  }

}

static void MX_TIM5_Init(void)
{

  TIM_ClockConfigTypeDef sClockSourceConfig = {0};
  TIM_MasterConfigTypeDef sMasterConfig = {0};
  TIM_OC_InitTypeDef sConfigOC = {0};

  htim5.Instance = TIM5;
  htim5.Init.Prescaler = 160-1;
  htim5.Init.CounterMode = TIM_COUNTERMODE_UP;
  htim5.Init.Period = 100-1;
  htim5.Init.ClockDivision = TIM_CLOCKDIVISION_DIV1;
  htim5.Init.AutoReloadPreload = TIM_AUTORELOAD_PRELOAD_ENABLE;
  if (HAL_TIM_Base_Init(&htim5) != HAL_OK)
  {
    Error_Handler();
  }
  sClockSourceConfig.ClockSource = TIM_CLOCKSOURCE_INTERNAL;
  if (HAL_TIM_ConfigClockSource(&htim5, &sClockSourceConfig) != HAL_OK)
  {
    Error_Handler();
  }
  if (HAL_TIM_PWM_Init(&htim5) != HAL_OK)
  {
    Error_Handler();
  }
  sMasterConfig.MasterOutputTrigger = TIM_TRGO_RESET;
  sMasterConfig.MasterSlaveMode = TIM_MASTERSLAVEMODE_DISABLE;
  if (HAL_TIMEx_MasterConfigSynchronization(&htim5, &sMasterConfig) != HAL_OK)
  {
    Error_Handler();
  }
  sConfigOC.OCMode = TIM_OCMODE_PWM1;
  sConfigOC.Pulse = 80-1;
  sConfigOC.OCPolarity = TIM_OCPOLARITY_HIGH;
  sConfigOC.OCFastMode = TIM_OCFAST_DISABLE;
  if (HAL_TIM_PWM_ConfigChannel(&htim5, &sConfigOC, TIM_CHANNEL_1) != HAL_OK)
  {
    Error_Handler();
  }
  if (HAL_TIM_PWM_ConfigChannel(&htim5, &sConfigOC, TIM_CHANNEL_2) != HAL_OK)
  {
    Error_Handler();
  }
  HAL_TIM_MspPostInit(&htim5);

}

static void MX_USART1_UART_Init(void)
{

  huart1.Instance = USART1;
  huart1.Init.BaudRate = 9600;
  huart1.Init.WordLength = UART_WORDLENGTH_8B;
  huart1.Init.StopBits = UART_STOPBITS_1;
  huart1.Init.Parity = UART_PARITY_NONE;
  huart1.Init.Mode = UART_MODE_TX_RX;
  huart1.Init.HwFlowCtl = UART_HWCONTROL_NONE;
  huart1.Init.OverSampling = UART_OVERSAMPLING_16;
  if (HAL_UART_Init(&huart1) != HAL_OK)
  {
    Error_Handler();
  }

}

static void MX_USART2_UART_Init(void)
{

  huart2.Instance = USART2;
  huart2.Init.BaudRate = 9600;
  huart2.Init.WordLength = UART_WORDLENGTH_8B;
  huart2.Init.StopBits = UART_STOPBITS_1;
  huart2.Init.Parity = UART_PARITY_NONE;
  huart2.Init.Mode = UART_MODE_TX_RX;
  huart2.Init.HwFlowCtl = UART_HWCONTROL_NONE;
  huart2.Init.OverSampling = UART_OVERSAMPLING_16;
  if (HAL_UART_Init(&huart2) != HAL_OK)
  {
    Error_Handler();
  }

}

static void MX_USART6_UART_Init(void)
{

  huart6.Instance = USART6;
  huart6.Init.BaudRate = 9600;
  huart6.Init.WordLength = UART_WORDLENGTH_8B;
  huart6.Init.StopBits = UART_STOPBITS_1;
  huart6.Init.Parity = UART_PARITY_NONE;
  huart6.Init.Mode = UART_MODE_TX_RX;
  huart6.Init.HwFlowCtl = UART_HWCONTROL_NONE;
  huart6.Init.OverSampling = UART_OVERSAMPLING_16;
  if (HAL_UART_Init(&huart6) != HAL_OK)
  {
    Error_Handler();
  }

}

static void MX_GPIO_Init(void)
{
  GPIO_InitTypeDef GPIO_InitStruct = {0};

  /* GPIO Ports Clock Enable */
  __HAL_RCC_GPIOC_CLK_ENABLE();
  __HAL_RCC_GPIOH_CLK_ENABLE();
  __HAL_RCC_GPIOA_CLK_ENABLE();
  __HAL_RCC_GPIOB_CLK_ENABLE();

  /*Configure GPIO pin Output Level */
  HAL_GPIO_WritePin(GPIOA, DIGIT_A0_Pin|LD2_Pin|DIGIT_A3_Pin|BLU_Pin
                          |RED_Pin|GRN_Pin, GPIO_PIN_RESET);

  /*Configure GPIO pin Output Level */
  HAL_GPIO_WritePin(GPIOB, DIGIT_B0_Pin|DIGIT_B1_Pin|DIGIT_B2_Pin|DIGIT_B3_Pin
                          |DIGIT_A1_Pin|DIGIT_A2_Pin, GPIO_PIN_RESET);

  /*Configure GPIO pin : B1_Pin */
  GPIO_InitStruct.Pin = B1_Pin;
  GPIO_InitStruct.Mode = GPIO_MODE_IT_FALLING;
  GPIO_InitStruct.Pull = GPIO_NOPULL;
  HAL_GPIO_Init(B1_GPIO_Port, &GPIO_InitStruct);

  /*Configure GPIO pins : DIGIT_A0_Pin LD2_Pin DIGIT_A3_Pin BLU_Pin
                           RED_Pin GRN_Pin */
  GPIO_InitStruct.Pin = DIGIT_A0_Pin|LD2_Pin|DIGIT_A3_Pin|BLU_Pin
                          |RED_Pin|GRN_Pin;
  GPIO_InitStruct.Mode = GPIO_MODE_OUTPUT_PP;
  GPIO_InitStruct.Pull = GPIO_NOPULL;
  GPIO_InitStruct.Speed = GPIO_SPEED_FREQ_LOW;
  HAL_GPIO_Init(GPIOA, &GPIO_InitStruct);

  /*Configure GPIO pins : DIGIT_B0_Pin DIGIT_B1_Pin DIGIT_B2_Pin DIGIT_B3_Pin
                           DIGIT_A1_Pin DIGIT_A2_Pin */
  GPIO_InitStruct.Pin = DIGIT_B0_Pin|DIGIT_B1_Pin|DIGIT_B2_Pin|DIGIT_B3_Pin
                          |DIGIT_A1_Pin|DIGIT_A2_Pin;
  GPIO_InitStruct.Mode = GPIO_MODE_OUTPUT_PP;
  GPIO_InitStruct.Pull = GPIO_NOPULL;
  GPIO_InitStruct.Speed = GPIO_SPEED_FREQ_LOW;
  HAL_GPIO_Init(GPIOB, &GPIO_InitStruct);

  /*Configure GPIO pin : RPM_TICK_Pin */
  GPIO_InitStruct.Pin = RPM_TICK_Pin;
  GPIO_InitStruct.Mode = GPIO_MODE_IT_RISING;
  GPIO_InitStruct.Pull = GPIO_NOPULL;
  HAL_GPIO_Init(RPM_TICK_GPIO_Port, &GPIO_InitStruct);

  /* EXTI interrupt init*/
  HAL_NVIC_SetPriority(EXTI2_IRQn, 0, 0);
  HAL_NVIC_EnableIRQ(EXTI2_IRQn);

}

/* USER CODE BEGIN 4 */
void HAL_GPIO_EXTI_Callback(uint16_t GPIO_Pin){
	if(GPIO_Pin == RPM_TICK_Pin){
		rpm_tick_count += 1;
	}
}

void HAL_UART_RxCpltCallback(UART_HandleTypeDef *huart){
	if(huart->Instance == USART1){
			us100_Rx_flag = 01;
	}
	else if (huart->Instance == USART6){
		HAL_UART_Transmit(&huart6, &byte, 1, 100);
		rcv_intpt_flag = 1;
	}
}
/* USER CODE END 4 */

void Error_Handler(void)
{
  __disable_irq();
  while (1)
  {
  }
}
